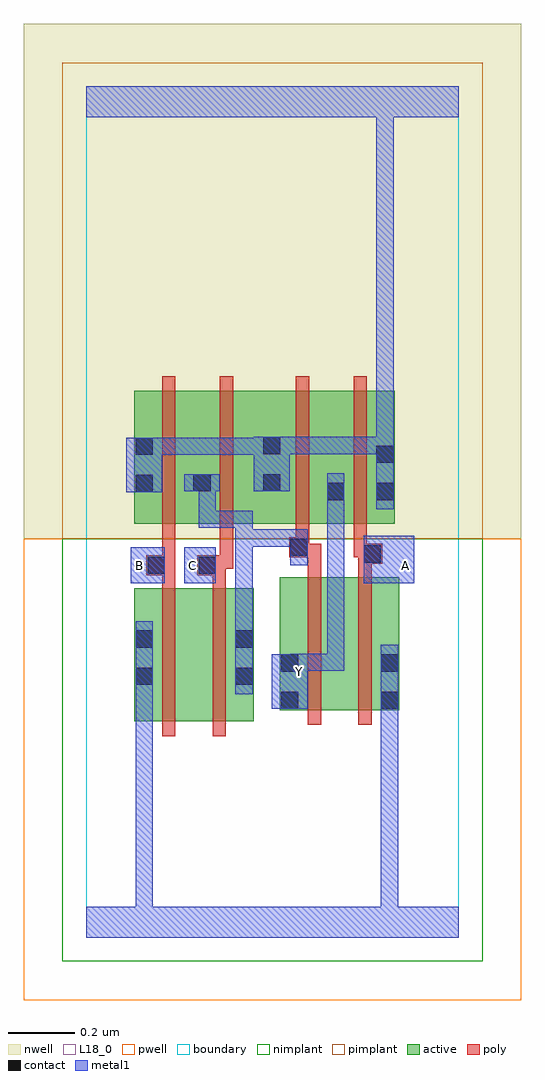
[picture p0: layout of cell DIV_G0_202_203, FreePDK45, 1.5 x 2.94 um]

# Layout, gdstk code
import gdstk
lib = gdstk.Library(unit=1e-6, precision=1e-09)
def R(c, l, rs):  # rectangles x0, y0, x1, y1
    for r in rs: c.add(gdstk.rectangle(r[:2], r[2:], *l))
active = (1, 0)
pwell = (2, 0)
nwell = (3, 0)
nimplant = (4, 0)
pimplant = (5, 0)
poly = (9, 0)
contact = (10, 0)
metal1 = (11, 0)
L18_0 = (18, 0)
boundary = (235, 0)

div_g0_202_203 = lib.new_cell('DIV_G0_202_203')
R(div_g0_202_203, active, [(0.144,0.65,0.204,1.05), (0.144,0.65,0.324,1.05), (0.324,0.65,0.504,1.05), (0.444,0.65,0.504,1.05), (0.582,0.684,0.642,1.084), (0.582,0.684,0.762,1.084), (0.762,0.684,0.942,1.084), (0.882,0.684,0.942,1.084), (0.144,1.244,0.204,1.644), (0.144,1.244,0.378,1.644), (0.318,1.244,0.378,1.644), (0.318,1.244,0.588,1.644), (0.528,1.244,0.588,1.644), (0.528,1.244,0.78,1.644), (0.72,1.244,0.78,1.644), (0.72,1.244,0.928,1.644), (0.868,1.244,0.928,1.644)])
R(div_g0_202_203, pwell, [(-0.188,-0.188,1.308,1.2)])
R(div_g0_202_203, nwell, [(-0.188,1.2,1.308,2.748)])
R(div_g0_202_203, nimplant, [(-0.072,-0.072,1.192,1.2)])
R(div_g0_202_203, pimplant, [(-0.072,1.2,1.192,2.632)])
R(div_g0_202_203, poly, [(0.228,0.606,0.268,1.094), (0.38,0.606,0.42,1.094), (0.666,0.64,0.706,1.128), (0.818,0.64,0.858,1.128), (0.228,1.054,0.268,1.13), (0.38,1.054,0.42,1.13), (0.666,1.088,0.706,1.184), (0.818,1.088,0.858,1.164), (0.18,1.09,0.268,1.15), (0.228,1.09,0.268,1.13), (0.228,1.09,0.268,1.13), (0.334,1.09,0.42,1.15), (0.228,1.11,0.268,1.24), (0.38,1.11,0.42,1.15), (0.38,1.11,0.442,1.15), (0.402,1.11,0.442,1.24), (0.818,1.124,0.89,1.184), (0.61,1.144,0.67,1.204), (0.63,1.144,0.67,1.184), (0.63,1.144,0.706,1.184), (0.804,1.144,0.844,1.24), (0.804,1.144,0.858,1.184), (0.818,1.144,0.858,1.184), (0.63,1.164,0.67,1.24), (0.228,1.2,0.268,1.688), (0.402,1.2,0.442,1.688), (0.63,1.2,0.67,1.688), (0.804,1.2,0.844,1.688)])
R(div_g0_202_203, contact, [(0.586,0.688,0.638,0.74), (0.886,0.688,0.938,0.74), (0.148,0.76,0.2,0.812), (0.448,0.76,0.5,0.812), (0.586,0.8,0.638,0.852), (0.886,0.8,0.938,0.852), (0.148,0.872,0.2,0.924), (0.448,0.872,0.5,0.924), (0.184,1.094,0.236,1.146), (0.338,1.094,0.39,1.146), (0.834,1.128,0.886,1.18), (0.614,1.148,0.666,1.2), (0.724,1.316,0.776,1.368), (0.872,1.316,0.924,1.368), (0.148,1.34,0.2,1.392), (0.322,1.342,0.374,1.394), (0.532,1.342,0.584,1.394), (0.872,1.428,0.924,1.48), (0.148,1.452,0.2,1.504), (0.532,1.454,0.584,1.506)])
R(div_g0_202_203, metal1, [(0,0,1.12,0.092), (0.148,0.04,0.2,0.092), (0.148,0.04,0.2,0.092), (0.148,0.04,0.2,0.092), (0.148,0.04,0.2,0.092), (0.148,0.04,0.2,0.092), (0.148,0.04,0.2,0.092), (0.148,0.04,0.2,0.092), (0.148,0.04,0.2,0.092), (0.148,0.04,0.2,0.092), (0.148,0.04,0.2,0.092), (0.148,0.04,0.2,0.676), (0.886,0.04,0.938,0.092), (0.886,0.04,0.938,0.092), (0.886,0.04,0.938,0.092), (0.886,0.04,0.938,0.092), (0.886,0.04,0.938,0.092), (0.886,0.04,0.938,0.092), (0.886,0.04,0.938,0.092), (0.886,0.04,0.938,0.092), (0.886,0.04,0.938,0.092), (0.886,0.04,0.938,0.092), (0.886,0.04,0.938,0.712), (0.148,0.624,0.2,0.676), (0.148,0.624,0.2,0.784), (0.886,0.66,0.938,0.712), (0.886,0.66,0.938,0.712), (0.886,0.66,0.938,0.88), (0.558,0.688,0.666,0.852), (0.148,0.732,0.2,0.952), (0.448,0.732,0.5,0.952), (0.614,0.746,0.666,0.854), (0.614,0.8,0.666,0.852), (0.614,0.802,0.776,0.854), (0.724,0.802,0.776,0.854), (0.724,0.802,0.776,0.854), (0.724,0.802,0.776,0.854), (0.724,0.802,0.776,0.908), (0.724,0.856,0.776,0.908), (0.724,0.856,0.776,1.34), (0.448,0.9,0.5,0.962), (0.448,0.91,0.5,0.962), (0.448,0.91,0.5,1.228), (0.134,1.066,0.236,1.174), (0.294,1.066,0.39,1.174), (0.834,1.066,0.986,1.208), (0.614,1.12,0.666,1.228), (0.448,1.176,0.5,1.284), (0.448,1.176,0.666,1.228), (0.614,1.176,0.666,1.228), (0.614,1.176,0.666,1.228), (0.338,1.232,0.39,1.284), (0.338,1.232,0.39,1.284), (0.338,1.232,0.39,1.284), (0.338,1.232,0.5,1.284), (0.338,1.232,0.39,1.394), (0.724,1.288,0.776,1.396), (0.872,1.288,0.924,1.508), (0.12,1.34,0.228,1.504), (0.294,1.342,0.402,1.394), (0.504,1.342,0.612,1.506), (0.176,1.452,0.236,1.504), (0.184,1.452,0.236,1.504), (0.184,1.452,0.39,1.504), (0.338,1.452,0.39,1.504), (0.338,1.452,0.39,1.504), (0.338,1.452,0.39,1.504), (0.338,1.452,0.556,1.504), (0.504,1.452,0.556,1.504), (0.504,1.452,0.556,1.504), (0.56,1.454,0.776,1.506), (0.724,1.454,0.776,1.506), (0.724,1.454,0.776,1.506), (0.724,1.454,0.776,1.506), (0.724,1.454,0.924,1.506), (0.872,1.454,0.924,1.506), (0.872,1.454,0.924,1.506), (0.872,1.456,0.924,2.52), (0,2.468,1.12,2.56), (0.872,2.468,0.924,2.52), (0.872,2.468,0.924,2.52), (0.872,2.468,0.924,2.52), (0.872,2.468,0.924,2.52), (0.872,2.468,0.924,2.52), (0.872,2.468,0.924,2.52), (0.872,2.468,0.924,2.52), (0.872,2.468,0.924,2.52), (0.872,2.468,0.924,2.52), (0.872,2.468,0.924,2.52), (0.872,2.468,0.924,2.52), (0.872,2.468,0.924,2.52), (0.872,2.468,0.924,2.52), (0.872,2.468,0.924,2.52), (0.872,2.468,0.924,2.52), (0.872,2.468,0.924,2.52)])
R(div_g0_202_203, L18_0, [(0,0,1.12,0.092), (0.148,0.04,0.2,0.092), (0.148,0.04,0.2,0.092), (0.148,0.04,0.2,0.092), (0.148,0.04,0.2,0.092), (0.148,0.04,0.2,0.092), (0.148,0.04,0.2,0.092), (0.148,0.04,0.2,0.092), (0.148,0.04,0.2,0.092), (0.148,0.04,0.2,0.092), (0.148,0.04,0.2,0.092), (0.148,0.04,0.2,0.676), (0.886,0.04,0.938,0.092), (0.886,0.04,0.938,0.092), (0.886,0.04,0.938,0.092), (0.886,0.04,0.938,0.092), (0.886,0.04,0.938,0.092), (0.886,0.04,0.938,0.092), (0.886,0.04,0.938,0.092), (0.886,0.04,0.938,0.092), (0.886,0.04,0.938,0.092), (0.886,0.04,0.938,0.092), (0.886,0.04,0.938,0.712), (0.148,0.624,0.2,0.676), (0.148,0.624,0.2,0.784), (0.886,0.66,0.938,0.712), (0.886,0.66,0.938,0.712), (0.886,0.66,0.938,0.88), (0.558,0.688,0.666,0.852), (0.148,0.732,0.2,0.952), (0.614,0.746,0.666,0.854), (0.614,0.774,0.666,0.826), (0.614,0.8,0.666,0.852), (0.614,0.802,0.776,0.854), (0.724,0.802,0.776,0.854), (0.724,0.802,0.776,0.854), (0.724,0.802,0.776,0.854), (0.724,0.802,0.776,0.908), (0.724,0.856,0.776,0.908), (0.724,0.856,0.776,1.34), (0.134,1.066,0.236,1.174), (0.294,1.066,0.39,1.174), (0.834,1.066,0.986,1.208), (0.134,1.094,0.186,1.146), (0.294,1.094,0.346,1.146), (0.934,1.094,0.986,1.146), (0.724,1.288,0.776,1.396), (0.872,1.288,0.924,1.508), (0.12,1.34,0.228,1.504), (0.504,1.342,0.612,1.506), (0.176,1.452,0.236,1.504), (0.184,1.452,0.236,1.504), (0.184,1.452,0.39,1.504), (0.338,1.452,0.39,1.504), (0.338,1.452,0.39,1.504), (0.338,1.452,0.39,1.504), (0.338,1.452,0.556,1.504), (0.504,1.452,0.556,1.504), (0.504,1.452,0.556,1.504), (0.56,1.454,0.776,1.506), (0.724,1.454,0.776,1.506), (0.724,1.454,0.776,1.506), (0.724,1.454,0.776,1.506), (0.724,1.454,0.924,1.506), (0.872,1.454,0.924,1.506), (0.872,1.454,0.924,1.506), (0.872,1.456,0.924,2.52), (0,2.468,1.12,2.56), (0.872,2.468,0.924,2.52), (0.872,2.468,0.924,2.52), (0.872,2.468,0.924,2.52), (0.872,2.468,0.924,2.52), (0.872,2.468,0.924,2.52), (0.872,2.468,0.924,2.52), (0.872,2.468,0.924,2.52), (0.872,2.468,0.924,2.52), (0.872,2.468,0.924,2.52), (0.872,2.468,0.924,2.52), (0.872,2.468,0.924,2.52), (0.872,2.468,0.924,2.52), (0.872,2.468,0.924,2.52), (0.872,2.468,0.924,2.52), (0.872,2.468,0.924,2.52), (0.872,2.468,0.924,2.52)])
R(div_g0_202_203, boundary, [(0,0,1.12,2.56)])
div_g0_202_203.add(gdstk.Label('A', (0.96,1.12), layer=11, texttype=0))
div_g0_202_203.add(gdstk.Label('B', (0.16,1.12), layer=11, texttype=0))
div_g0_202_203.add(gdstk.Label('C', (0.32,1.12), layer=11, texttype=0))
div_g0_202_203.add(gdstk.Label('Y', (0.64,0.8), layer=11, texttype=0))

lib.write_gds('DIV_G0_202_203.gds')
